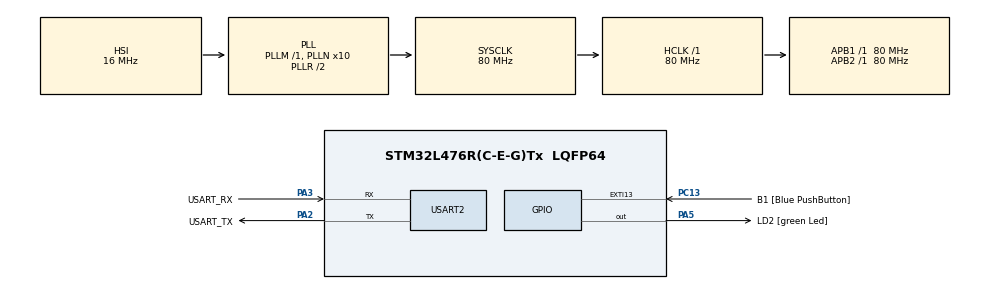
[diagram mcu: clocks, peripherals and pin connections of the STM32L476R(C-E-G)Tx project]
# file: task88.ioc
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Mcu.Family=STM32L4
Mcu.Name=STM32L476R(C-E-G)Tx
Mcu.Package=LQFP64
NVIC.EXTI15_10_IRQn=true\:0\:0\:false\:false\:true\:true\:true\:true
NVIC.PriorityGroup=NVIC_PRIORITYGROUP_4
NVIC.TIM6_DAC_IRQn=true\:0\:0\:false\:false\:true\:true\:true\:true
PA13\ (JTMS-SWDIO).GPIO_Label=TMS
PA13\ (JTMS-SWDIO).Mode=Serial_Wire
PA13\ (JTMS-SWDIO).Signal=SYS_JTMS-SWDIO
PA14\ (JTCK-SWCLK).GPIO_Label=TCK
PA14\ (JTCK-SWCLK).Mode=Serial_Wire
PA14\ (JTCK-SWCLK).Signal=SYS_JTCK-SWCLK
PA2.GPIO_Label=USART_TX
PA2.GPIO_Mode=GPIO_MODE_AF_PP
PA2.GPIO_PuPd=GPIO_NOPULL
PA2.GPIO_Speed=GPIO_SPEED_FREQ_VERY_HIGH
PA2.Mode=Asynchronous
PA2.Signal=USART2_TX
PA3.GPIO_Label=USART_RX
PA3.GPIO_Mode=GPIO_MODE_AF_PP
PA3.GPIO_PuPd=GPIO_NOPULL
PA3.GPIO_Speed=GPIO_SPEED_FREQ_VERY_HIGH
PA3.Mode=Asynchronous
PA3.Signal=USART2_RX
PA5.GPIO_Label=LD2 [green Led]
PA5.GPIO_ModeDefaultOutputPP=GPIO_MODE_OUTPUT_PP
PA5.GPIO_PuPd=GPIO_NOPULL
PA5.GPIO_Speed=GPIO_SPEED_FREQ_LOW
PA5.Signal=GPIO_Output
PB3\ (JTDO-TRACESWO).GPIO_Label=SWO
PB3\ (JTDO-TRACESWO).Signal=SYS_JTDO-SWO
PC13.GPIO_Label=B1 [Blue PushButton]
PC13.GPIO_ModeDefaultEXTI=GPIO_MODE_IT_FALLING
PC13.GPIO_PuPd=GPIO_NOPULL
PC13.Signal=GPXTI13
PC14-OSC32_IN\ (PC14).Mode=LSE-External-Oscillator
PC14-OSC32_IN\ (PC14).Signal=RCC_OSC32_IN
PC15-OSC32_OUT\ (PC15).Mode=LSE-External-Oscillator
PC15-OSC32_OUT\ (PC15).Signal=RCC_OSC32_OUT
PH0-OSC_IN\ (PH0).Signal=RCC_OSC_IN
PH1-OSC_OUT\ (PH1).Signal=RCC_OSC_OUT
ProjectManager.HeapSize=0x200
ProjectManager.StackSize=0x400
ProjectManager.TargetToolchain=STM32CubeIDE
RCC.ADCFreq_Value=64000000
RCC.AHBFreq_Value=80000000
RCC.APB1Freq_Value=80000000
RCC.APB1TimFreq_Value=80000000
RCC.APB2Freq_Value=80000000
RCC.APB2TimFreq_Value=80000000
RCC.CortexFreq_Value=80000000
RCC.HCLKFreq_Value=80000000
RCC.HSE_VALUE=8000000
RCC.HSI_VALUE=16000000
RCC.MSI_VALUE=4000000
RCC.PLLN=10
RCC.PLLSourceVirtual=RCC_PLLSOURCE_HSI
RCC.PREFETCH_ENABLE=1
RCC.SYSCLKFreq_VALUE=80000000
RCC.SYSCLKSource=RCC_SYSCLKSOURCE_PLLCLK
RCC.USBFreq_Value=64000000
RCC.VCOOutputFreq_Value=160000000
TIM6.Period=9999
TIM6.Prescaler=7999
USART2.VirtualMode-Asynchronous=VM_ASYNC
VP_TIM6_VS_ClockSourceINT.Mode=Enable_Timer
board=NUCLEO-L476RG

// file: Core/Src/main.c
/* USER CODE BEGIN Header */
/**
  ******************************************************************************
  * @file           : main.c
  * @brief          : Main program body
  ******************************************************************************
  * @attention
  *
  * Copyright (c) 2022 STMicroelectronics.
  * All rights reserved.
  *
  * This software is licensed under terms that can be found in the LICENSE file
  * in the root directory of this software component.
  * If no LICENSE file comes with this software, it is provided AS-IS.
  *
  ******************************************************************************
  */
/* USER CODE END Header */
#include "main.h"

/* USER CODE BEGIN Includes */
#include <stdio.h>
#include <string.h>

/* USER CODE END Includes */

 TIM_HandleTypeDef htim6;

UART_HandleTypeDef huart2;

void SystemClock_Config(void);
static void MX_GPIO_Init(void);
static void MX_USART2_UART_Init(void);
static void MX_TIM6_Init(void);

/* USER CODE BEGIN 0 */

/////////////////////////////////////////////////////////////////////////
// Led task definitions and functions
/////////////////////////////////////////////////////////////////////////

enum LedTaskState
{
	LedOn,
	LedOff,
};

enum LedTaskState ledState;
int ledCount;
int ledMaxCount;

void ledTask()
{
	if (ledState == LedOn)
	{
		if (ledCount++ >= ledMaxCount)
		{
			HAL_GPIO_TogglePin(LD2_GPIO_Port, LD2_Pin);
			ledCount = 0;
		}
	}
	else if (ledState == LedOff)
	{
		//HAL_GPIO_WritePin(LD2_GPIO_Port, LD2_Pin, 0);
	}
}

void ledStart(int maxCount)
{
	ledState = LedOn;
	ledMaxCount = maxCount;
}

void ledStop()
{
	ledState = LedOff;
	HAL_GPIO_WritePin(LD2_GPIO_Port, LD2_Pin, 0);
}

/////////////////////////////////////////////////////////////////////////
// Communication task definitions and functions
/////////////////////////////////////////////////////////////////////////

#define MAX_BUFFER_LENGTH 100

uint8_t cmdbuffer[MAX_BUFFER_LENGTH];
int cmdcount = 0;
int cmdprint = 0;

int Communication_commTask()
{
	uint8_t ch;

	HAL_StatusTypeDef Status = HAL_UART_Receive(&huart2, &ch, 1, 0);
	if (Status != HAL_OK) {

//		if ((huart2.Instance->ISR & USART_ISR_ORE) != 0)
//				{
//					__HAL_UART_CLEAR_OREFLAG(&huart2);
//				}

		while (cmdprint < cmdcount)
				{
					HAL_UART_Transmit(&huart2, &cmdbuffer[cmdprint++], 1, 0xFFFF);
				}

		return 0;
	}

	if (ch != '\r' && ch != '\n')
	{
	//	HAL_UART_Transmit(&huart2, &ch, 1, 0xFFFF);

		if (cmdcount >= MAX_BUFFER_LENGTH)
		{
			cmdcount = 0;
		}

		cmdbuffer[cmdcount++] = ch;
		return 0;
	}

	HAL_UART_Transmit(&huart2, (uint8_t*)"\r\n", 2, 0xFFFF);

	cmdbuffer[cmdcount] = 0;
	cmdcount = 0;
	return 1;
}

void Communication_handleCommand()
{
  char cmd[20];
  int maxCount;

  int params = sscanf((const char*)cmdbuffer, "%s %d", cmd, &maxCount);

  if (params == 0)
  {
	  return;
  }

  if (strcmp(cmd, "start") == 0)
  {
	  ledStart(maxCount);
  }
  else if (strcmp(cmd, "stop") == 0)
  {
	  ledStop();
  }
  else
  {
	  printf("Invalid command\r\n");
  }
}

/////////////////////////////////////////////////////////////////////////
// Redirecting printf to UART
/////////////////////////////////////////////////////////////////////////
int _write(int fd, char* ptr, int len) {
    HAL_UART_Transmit(&huart2, (uint8_t *) ptr, len, HAL_MAX_DELAY);
    return len;
}

////////////////////////////////////////////////////////////////////////

//void HAL_TIM_PeriodElapsedCallback(TIM_HandleTypeDef * htim)
//{
//	printf("hello \n\r");
//}

//////////////////////////////////////////////////////////////////////

/* USER CODE END 0 */

int main(void)
{

  /* MCU Configuration--------------------------------------------------------*/

  /* Reset of all peripherals, Initializes the Flash interface and the Systick. */
  HAL_Init();

  /* Configure the system clock */
  SystemClock_Config();

  /* Initialize all configured peripherals */
  MX_GPIO_Init();
  MX_USART2_UART_Init();
  MX_TIM6_Init();
  /* USER CODE BEGIN 2 */
  HAL_NVIC_EnableIRQ(TIM6_DAC_IRQn);
  HAL_TIM_Base_Start_IT(&htim6);
  /* USER CODE END 2 */

  /* Infinite loop */
  while (1)
  {

    /* USER CODE BEGIN 3 */
	  ledTask();
	 	  if (Communication_commTask())
	 	  {
	 		  Communication_handleCommand();
	 	  }
  }
  /* USER CODE END 3 */
}

void SystemClock_Config(void)
{
  RCC_OscInitTypeDef RCC_OscInitStruct = {0};
  RCC_ClkInitTypeDef RCC_ClkInitStruct = {0};

  /** Configure the main internal regulator output voltage
  */
  if (HAL_PWREx_ControlVoltageScaling(PWR_REGULATOR_VOLTAGE_SCALE1) != HAL_OK)
  {
    Error_Handler();
  }

  /** Initializes the RCC Oscillators according to the specified parameters
  * in the RCC_OscInitTypeDef structure.
  */
  RCC_OscInitStruct.OscillatorType = RCC_OSCILLATORTYPE_HSI;
  RCC_OscInitStruct.HSIState = RCC_HSI_ON;
  RCC_OscInitStruct.HSICalibrationValue = RCC_HSICALIBRATION_DEFAULT;
  RCC_OscInitStruct.PLL.PLLState = RCC_PLL_ON;
  RCC_OscInitStruct.PLL.PLLSource = RCC_PLLSOURCE_HSI;
  RCC_OscInitStruct.PLL.PLLM = 1;
  RCC_OscInitStruct.PLL.PLLN = 10;
  RCC_OscInitStruct.PLL.PLLP = RCC_PLLP_DIV7;
  RCC_OscInitStruct.PLL.PLLQ = RCC_PLLQ_DIV2;
  RCC_OscInitStruct.PLL.PLLR = RCC_PLLR_DIV2;
  if (HAL_RCC_OscConfig(&RCC_OscInitStruct) != HAL_OK)
  {
    Error_Handler();
  }

  /** Initializes the CPU, AHB and APB buses clocks
  */
  RCC_ClkInitStruct.ClockType = RCC_CLOCKTYPE_HCLK|RCC_CLOCKTYPE_SYSCLK
                              |RCC_CLOCKTYPE_PCLK1|RCC_CLOCKTYPE_PCLK2;
  RCC_ClkInitStruct.SYSCLKSource = RCC_SYSCLKSOURCE_PLLCLK;
  RCC_ClkInitStruct.AHBCLKDivider = RCC_SYSCLK_DIV1;
  RCC_ClkInitStruct.APB1CLKDivider = RCC_HCLK_DIV1;
  RCC_ClkInitStruct.APB2CLKDivider = RCC_HCLK_DIV1;

  if (HAL_RCC_ClockConfig(&RCC_ClkInitStruct, FLASH_LATENCY_4) != HAL_OK)
  {
    Error_Handler();
  }
}

static void MX_TIM6_Init(void)
{

  TIM_MasterConfigTypeDef sMasterConfig = {0};

  htim6.Instance = TIM6;
  htim6.Init.Prescaler = 7999;
  htim6.Init.CounterMode = TIM_COUNTERMODE_UP;
  htim6.Init.Period = 9999;
  htim6.Init.AutoReloadPreload = TIM_AUTORELOAD_PRELOAD_DISABLE;
  if (HAL_TIM_Base_Init(&htim6) != HAL_OK)
  {
    Error_Handler();
  }
  sMasterConfig.MasterOutputTrigger = TIM_TRGO_RESET;
  sMasterConfig.MasterSlaveMode = TIM_MASTERSLAVEMODE_DISABLE;
  if (HAL_TIMEx_MasterConfigSynchronization(&htim6, &sMasterConfig) != HAL_OK)
  {
    Error_Handler();
  }

}

static void MX_USART2_UART_Init(void)
{

  huart2.Instance = USART2;
  huart2.Init.BaudRate = 115200;
  huart2.Init.WordLength = UART_WORDLENGTH_8B;
  huart2.Init.StopBits = UART_STOPBITS_1;
  huart2.Init.Parity = UART_PARITY_NONE;
  huart2.Init.Mode = UART_MODE_TX_RX;
  huart2.Init.HwFlowCtl = UART_HWCONTROL_NONE;
  huart2.Init.OverSampling = UART_OVERSAMPLING_16;
  huart2.Init.OneBitSampling = UART_ONE_BIT_SAMPLE_DISABLE;
  huart2.AdvancedInit.AdvFeatureInit = UART_ADVFEATURE_NO_INIT;
  if (HAL_UART_Init(&huart2) != HAL_OK)
  {
    Error_Handler();
  }

}

static void MX_GPIO_Init(void)
{
  GPIO_InitTypeDef GPIO_InitStruct = {0};

  /* GPIO Ports Clock Enable */
  __HAL_RCC_GPIOC_CLK_ENABLE();
  __HAL_RCC_GPIOH_CLK_ENABLE();
  __HAL_RCC_GPIOA_CLK_ENABLE();
  __HAL_RCC_GPIOB_CLK_ENABLE();

  /*Configure GPIO pin Output Level */
  HAL_GPIO_WritePin(LD2_GPIO_Port, LD2_Pin, GPIO_PIN_RESET);

  /*Configure GPIO pin : B1_Pin */
  GPIO_InitStruct.Pin = B1_Pin;
  GPIO_InitStruct.Mode = GPIO_MODE_IT_FALLING;
  GPIO_InitStruct.Pull = GPIO_NOPULL;
  HAL_GPIO_Init(B1_GPIO_Port, &GPIO_InitStruct);

  /*Configure GPIO pin : LD2_Pin */
  GPIO_InitStruct.Pin = LD2_Pin;
  GPIO_InitStruct.Mode = GPIO_MODE_OUTPUT_PP;
  GPIO_InitStruct.Pull = GPIO_NOPULL;
  GPIO_InitStruct.Speed = GPIO_SPEED_FREQ_LOW;
  HAL_GPIO_Init(LD2_GPIO_Port, &GPIO_InitStruct);

  /* EXTI interrupt init*/
  HAL_NVIC_SetPriority(EXTI15_10_IRQn, 0, 0);
  HAL_NVIC_EnableIRQ(EXTI15_10_IRQn);

}

void Error_Handler(void)
{
  __disable_irq();
  while (1)
  {
  }
}
